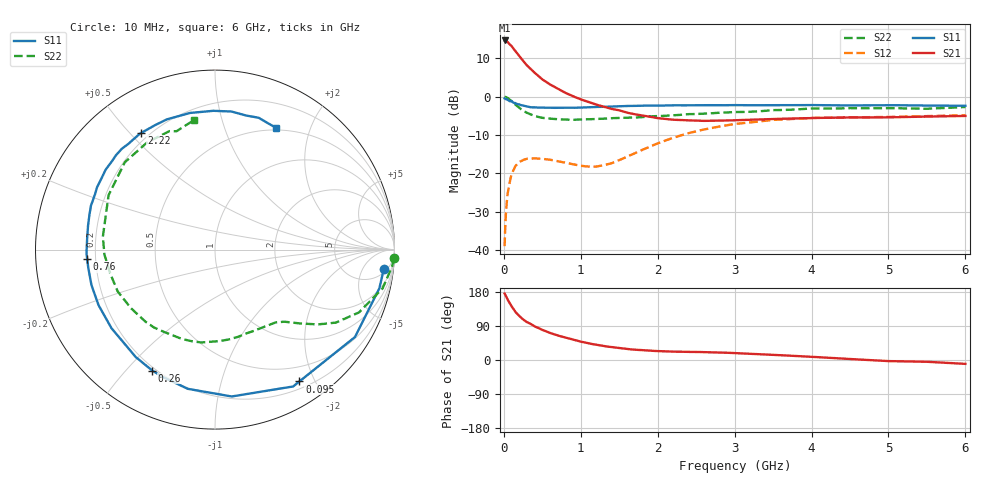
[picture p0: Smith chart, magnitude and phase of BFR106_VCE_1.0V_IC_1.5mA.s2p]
! Infineon Technologies  Discrete & RF Semiconductors
! BFR106
! VCE =  1.0 V,  IC =  1.5 mA
! Common Emitter S-Parameters:  Nov 2015
# GHz  S  MA  R  50
!  f  S11  S21  S12  S22
! GHz  MAG  ANG  MAG  ANG  MAG  ANG  MAG  ANG
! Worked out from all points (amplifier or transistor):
!   210 points, 10 MHz to 6 GHz, reference 50 ohm
!   highest |S21| = 14.6 dB at 10 MHz (marker M1)
!   |S21| within 3 dB of that: start of sweep to 160.3 MHz
!   unconditionally stable (mu >= 1): 797.5 MHz to end of sweep
!   at 185 MHz: K = 0.24, MSG = 14.2 dB, |S12| = -17.4 dB
!   at 1.52 GHz: K = 1.36, MAG = 2.8 dB, |S12| = -16.4 dB
!   at 6 GHz: K = 1.02, MAG = -1.0 dB, |S12| = -4.9 dB
!   S11 on the Smith chart (normalised r, x): 10 MHz: 7, -14; 95 MHz: 0.29, -1.79; 260 MHz: 0.19, -0.59; 760 MHz: 0.17, -0.04; 2.22 GHz: 0.17, +0.54; 6 GHz: 0.48, +1.52
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0.01  0.9468 -6.5  5.391 175.2  0.0112 86.6  0.9977 -2.8
0.02  0.9409 -13.2  5.387 171.7  0.0222 82.7  0.9914 -5.4
0.025  0.9305 -16.2  5.328 169.6  0.0275 79.1  0.9848 -6.6
0.05  0.9195 -32.0  5.141 158.8  0.0545 71.8  0.9587 -13.0
0.095  0.8723 -57.4  4.608 143.8  0.0926 58.0  0.882 -22.5
0.1  0.8781 -60.3  4.571 141.9  0.097 57.1  0.8751 -23.6
0.15  0.8236 -83.5  3.937 126.7  0.1238 44.4  0.7859 -31.2
0.2  0.7904 -101.1  3.4 116.2  0.14 36.4  0.7133 -35.7
0.26  0.7591 -117.4  2.845 105.6  0.1502 29.0  0.6454 -39.8
0.3  0.744 -126.4  2.555 100.0  0.1543 25.5  0.6147 -41.8
0.4  0.7241 -142.8  2.045 88.7  0.1565 19.0  0.5575 -46.1
0.5  0.719 -154.5  1.676 79.4  0.1544 15.2  0.528 -50.2
0.6  0.7161 -164.0  1.44 71.4  0.1502 13.3  0.5157 -54.7
0.76  0.714 -175.8  1.176 61.3  0.1399 13.7  0.5032 -62.7
1.02  0.7197 169.4  0.905 47.6  0.1245 21.4  0.503 -76.5
1.4  0.7434 152.1  0.691 33.9  0.135 44.1  0.5231 -98.5
2.02  0.762 128.8  0.521 23.4  0.2494 56.0  0.5582 -135.0
2.22  0.7692 122.2  0.498 22.0  0.2938 53.7  0.5717 -146.4
3.1  0.772 98.4  0.495 17.4  0.449 34.8  0.6296 169.2
4.1  0.7725 82.0  0.527 7.3  0.528 14.5  0.6978 133.2
5.1  0.7712 70.8  0.538 -3.3  0.5448 0.3  0.7042 110.4
6  0.7591 63.2  0.559 -10.2  0.571 -9.0  0.7321 99.0
